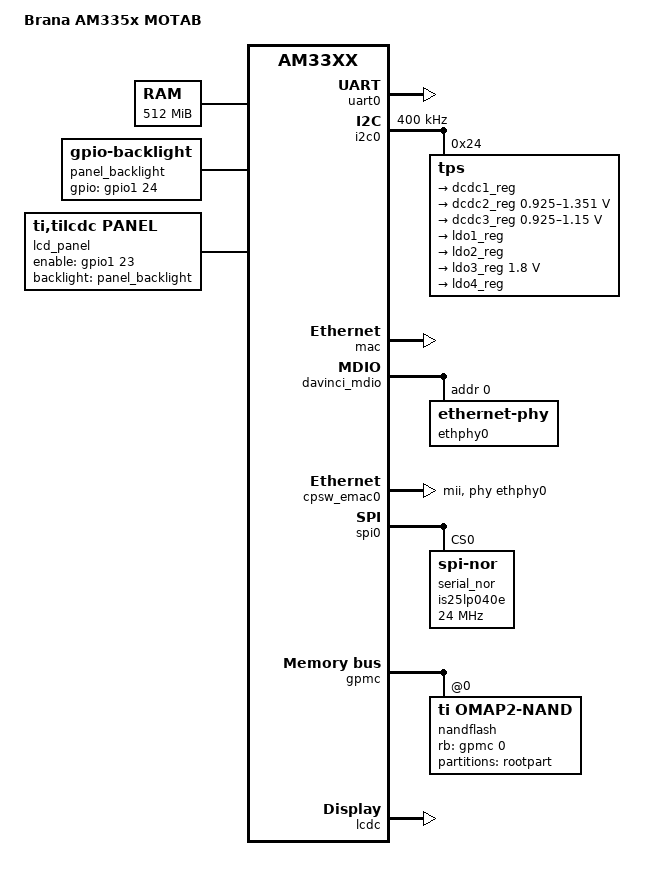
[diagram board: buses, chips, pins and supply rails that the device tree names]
/*
 * Copyright (C) 2020 Brana Electromech 
 */
/dts-v1/;

#include "am33xx.dtsi"
#include <dt-bindings/interrupt-controller/irq.h>

/ {
  model = "Brana AM335x MOTAB";
  compatible = "brana,am335x-motab", "ti,am33xx";

  aliases {
//    ethernet0 = &cpsw_port1;
//    ethernet1 = &cpsw_port2;
  };

  memory@80000000 {
    device_type = "memory";
    reg = <0x80000000 0x20000000>; /* 512 MB */
  };

  chosen {
    stdout-path = &uart0;
  };

//  vdd_3v3b: fixedregulator0 {
//    compatible = "regulator-fixed";
//    regulator-name = "vdd_3v3b";
//    regulator-min-microvolt = <3300000>;
//    regulator-max-microvolt = <3300000>;
//  };

  panel_backlight: panel-backlight {
    compatible = "gpio-backlight";
    gpios = <&gpio1 24 GPIO_ACTIVE_HIGH>;
  };

  lcd_panel: lcd-panel {
    compatible = "ti,tilcdc,panel";
    enable-gpios = <&gpio1 23 GPIO_ACTIVE_HIGH>;
    backlight = <&panel_backlight>;

    display_timings: display-timings {
      native-mode = <&timing0>;
      timing0: 800x480 {
        hactive         = <800>;
        vactive         = <480>;
        hback-porch     = <46>;
        hfront-porch    = <210>;
        hsync-len       = <10>;
        vback-porch     = <23>;
        vfront-porch    = <22>;
        vsync-len       = <10>;
        clock-frequency = <32000000>;
        hsync-active    = <1>;
        vsync-active    = <1>;
      };
    };

    panel_info: panel-info {
      ac-bias           = <255>;
      ac-bias-intrpt    = <0>;
      dma-burst-sz      = <16>;
      bpp               = <16>;
      fdd               = <0x80>;
      sync-edge         = <0>;
      sync-ctrl         = <1>;
      raster-order      = <0>;
      fifo-th           = <0>;
    };

//    port {
//      panel_0: endpoint@0 {
//        remote-endpoint = <&lcdc_0>;
//      };
//    };
  };
};

//*****************************************************************************
&uart0 {
  status = "okay";
};

//*****************************************************************************
&i2c0 {
  status = "okay";
  clock-frequency = <400000>;

  tps: tps@24 {
    reg = <0x24>;
  };

  // sMCU

};

#include "tps65217.dtsi"

&tps {
//  interrupts = <7>; /* NMI */
//  interrupt-parent = <&intc>;

  ti,pmic-shutdown-controller;

  regulators {
    dcdc1_reg: regulator@0 {
      regulator-name = "vdds_ddr";
      regulator-always-on;
    };

    dcdc2_reg: regulator@1 {
      /* VDD_MPU voltage limits 0.95V - 1.26V with +/-4% tolerance */
      regulator-name = "vdd_mpu";
      regulator-min-microvolt = <925000>;
      regulator-max-microvolt = <1351500>;
      regulator-boot-on;
      regulator-always-on;
    };

    dcdc3_reg: regulator@2 {
      /* VDD_CORE voltage limits 0.95V - 1.1V with +/-4% tolerance */
      regulator-name = "vdd_core";
      regulator-min-microvolt = <925000>;
      regulator-max-microvolt = <1150000>;
      regulator-boot-on;
      regulator-always-on;
    };

    ldo1_reg: regulator@3 {
      regulator-name = "vio,vrtc,vdds";
      regulator-always-on;
    };

    ldo2_reg: regulator@4 {
      regulator-name = "vdd_3v3aux";
      regulator-always-on;
    };

    ldo3_reg: regulator@5 {
      regulator-name = "vdd_1v8";
      regulator-min-microvolt = <1800000>;
      regulator-max-microvolt = <1800000>;
      regulator-always-on;
    };

    ldo4_reg: regulator@6 {
      regulator-name = "vdd_3v3a";
      regulator-always-on;
    };
  };   
};

//*****************************************************************************
&mac {
  status = "okay";
  slaves = <1>;
};

&davinci_mdio {
  status = "okay";

  ethphy0: ethernet-phy@0 {
    reg = <0>;
  };
};

&cpsw_emac0 {
  phy-handle = <&ethphy0>;
  phy-mode = "mii";
};

//*****************************************************************************
&spi0 {
	status = "okay";

	serial_nor: is25lp040e@0 {
		compatible = "jedec,spi-nor";
		reg = <0x0>;  /* Chip select 0 */
    spi-max-frequency = <24000000>;
	};
};

//*****************************************************************************
&gpmc {
  ranges = <0 0 0x08000000 0x8000000>; /* CS0 for 128 MiB chip */
  status = "okay";

  nandflash: nand@0,0 {
    compatible = "ti,omap2-nand";
    reg = <0 0 4>; /* CS0, offset 0, IO size 4 */
//    interrupt-parent = <&gpmc>;
//    interrupts = <0 IRQ_TYPE_NONE>, /* fifoevent */
//                 <1 IRQ_TYPE_NONE>; /* termcount */
    rb-gpios = <&gpmc 0 GPIO_ACTIVE_HIGH>; /* gpmc_wait0 */
    ti,nand-ecc-opt = "bch8";
    nand-bus-width = <8>;
    gpmc,device-nand = "true";
    gpmc,device-width = <1>;
    gpmc,sync-clk-ps = <0>;
    gpmc,cs-on-ns = <0>;
    gpmc,cs-rd-off-ns = <30>;
    gpmc,cs-wr-off-ns = <30>;
    gpmc,adv-on-ns = <0>;
    gpmc,adv-rd-off-ns = <30>;
    gpmc,adv-wr-off-ns = <30>;
    gpmc,we-on-ns = <0>;
    gpmc,we-off-ns = <20>;
    gpmc,oe-on-ns = <10>;
    gpmc,oe-off-ns = <30>;
    gpmc,access-ns = <30>;
    gpmc,rd-cycle-ns = <30>;
    gpmc,wr-cycle-ns = <30>;
    gpmc,bus-turnaround-ns = <0>;
    gpmc,cycle2cycle-delay-ns = <50>;
    gpmc,clk-activation-ns = <0>;
    gpmc,wait-monitoring-ns = <0>;
    gpmc,wr-access-ns = <30>;
    gpmc,wr-data-mux-bus-ns = <0>;

    #address-cells = <1>;
    #size-cells = <1>;

    /* MTD partition table */
    partition@0 {
      label = "rootpart";
      reg = <0x00000000 0x8000000>;
    };
  };
};


//*****************************************************************************
&lcdc {
  blue-and-red-wiring = "crossed";
  status = "okay";

//  port {
//    lcdc_0: endpoint@0 {
//      remote-endpoint = <&panel_0>;
//    };
//  };
};


